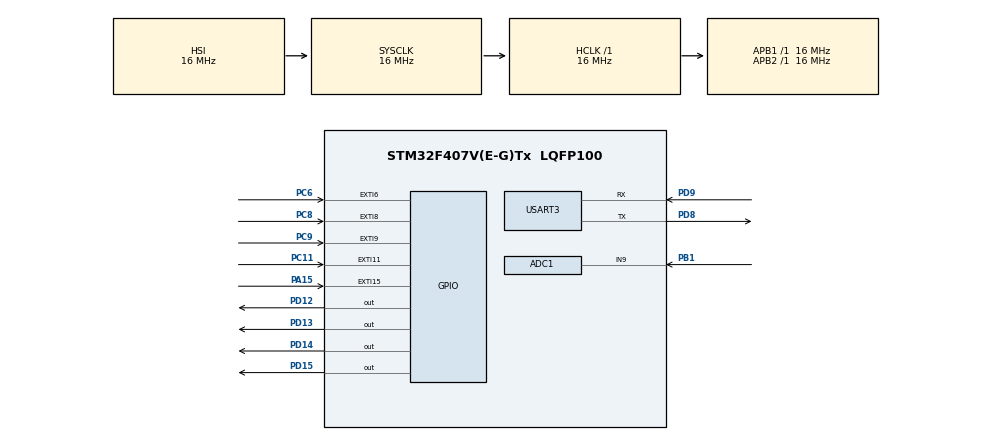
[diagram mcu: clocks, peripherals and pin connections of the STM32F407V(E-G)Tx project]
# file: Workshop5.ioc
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ADC1.Channel-0\#ChannelRegularConversion=ADC_CHANNEL_9
ADC1.ClockPrescaler=ADC_CLOCK_SYNC_PCLK_DIV8
ADC1.ContinuousConvMode=ENABLE
ADC1.NbrOfConversionFlag=1
ADC1.Rank-0\#ChannelRegularConversion=1
ADC1.SamplingTime-0\#ChannelRegularConversion=ADC_SAMPLETIME_480CYCLES
ADC1.master=1
Mcu.Family=STM32F4
Mcu.Name=STM32F407V(E-G)Tx
Mcu.Package=LQFP100
NVIC.EXTI15_10_IRQn=true\:0\:0\:false\:false\:true\:true\:true
NVIC.EXTI9_5_IRQn=true\:0\:0\:false\:false\:true\:true\:true
NVIC.PriorityGroup=NVIC_PRIORITYGROUP_4
NVIC.TIM4_IRQn=true\:0\:0\:false\:false\:true\:true\:true
PA15.Signal=GPXTI15
PB1.Signal=ADCx_IN9
PC11.Signal=GPXTI11
PC6.Signal=GPXTI6
PC8.Signal=GPXTI8
PC9.Signal=GPXTI9
PD12.Signal=GPIO_Output
PD13.Signal=GPIO_Output
PD14.Signal=GPIO_Output
PD15.Signal=GPIO_Output
PD8.Mode=Asynchronous
PD8.Signal=USART3_TX
PD9.Mode=Asynchronous
PD9.Signal=USART3_RX
ProjectManager.HeapSize=0x200
ProjectManager.StackSize=0x400
ProjectManager.TargetToolchain=STM32CubeIDE
RCC.AHBFreq_Value=16000000
RCC.APB1Freq_Value=16000000
RCC.APB2Freq_Value=16000000
RCC.CortexFreq_Value=16000000
RCC.HSE_VALUE=25000000
RCC.HSI_VALUE=16000000
RCC.LSE_VALUE=32768
RCC.SYSCLKFreq_VALUE=16000000
RCC.VCOOutputFreq_Value=192000000
SH.ADCx_IN9.0=ADC1_IN9,IN9
TIM4.Period=999
TIM4.Prescaler=15999
USART3.VirtualMode=VM_ASYNC
VP_TIM4_VS_ClockSourceINT.Mode=Internal
board=custom

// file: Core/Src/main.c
/* USER CODE BEGIN Header */
/**
  ******************************************************************************
  * @file           : main.c
  * @brief          : Main program body
  ******************************************************************************
  * @attention
  *
  * <h2><center>&copy; Copyright (c) 2021 STMicroelectronics.
  * All rights reserved.</center></h2>
  *
  * This software component is licensed by ST under BSD 3-Clause license,
  * the "License"; You may not use this file except in compliance with the
  * License. You may obtain a copy of the License at:
  *                        opensource.org/licenses/BSD-3-Clause
  *
  ******************************************************************************
  */
/* USER CODE END Header */
#include "main.h"

/* USER CODE BEGIN Includes */

#include <string.h>
#include <stdio.h>

/* USER CODE END Includes */

ADC_HandleTypeDef hadc1;

TIM_HandleTypeDef htim4;

UART_HandleTypeDef huart3;

void SystemClock_Config(void);
static void MX_GPIO_Init(void);
static void MX_USART3_UART_Init(void);
static void MX_ADC1_Init(void);
static void MX_TIM4_Init(void);

/* USER CODE BEGIN 0 */

const char * colors[2][4] = {{"GREEN ON\r\n", "ORANGE ON\r\n", "RED ON\r\n", "BLUE ON\r\n"},
		{"GREEN OFF\r\n", "ORANGE OFF\r\n", "RED OFF\r\n", "BLUE OFF\r\n"}};
const uint8_t secondsForTempCheck = 5;
uint8_t secondsPassed = 0;

void togglePinAndSendState(uint16_t OUT_Pin)
{
	int8_t onOff = (HAL_GPIO_ReadPin(GPIOD, OUT_Pin) == GPIO_PIN_SET) ? 1 : 0;

	switch (OUT_Pin)
	{
	case GPIO_PIN_12:
		HAL_UART_Transmit(&huart3, (uint8_t *)colors[onOff][0], strlen(colors[onOff][0]), 10);
		break;

	case GPIO_PIN_13:
		HAL_UART_Transmit(&huart3, (uint8_t *)colors[onOff][1], strlen(colors[onOff][1]), 10);
		break;

	case GPIO_PIN_14:
		HAL_UART_Transmit(&huart3, (uint8_t *)colors[onOff][2], strlen(colors[onOff][2]), 10);
		break;

	case GPIO_PIN_15:
		HAL_UART_Transmit(&huart3, (uint8_t *)colors[onOff][3], strlen(colors[onOff][3]), 10);
		break;

	default:
		HAL_UART_Transmit(&huart3, (uint8_t *)"WRONG OUT PIN\r\n", 15, 10);
		return;
	}

	HAL_GPIO_TogglePin(GPIOD, OUT_Pin);
}

void sendCurrentTemp()
{
	HAL_ADC_Start(&hadc1);
	if (HAL_ADC_PollForConversion(&hadc1, 100) == HAL_OK)
	{
		int16_t value = HAL_ADC_GetValue(&hadc1);

											// slope = (1600(when 45 degrees) - 2050(when 20 degrees))) / (45 - 20) = 18
		value = (value - 2050)/-18 + 20;	// by formula (VSence - V25 (used 20)) / avgSlope + 25 (used 20)

		char message[50];
		sprintf(message, "%d Celsius degrees captured\r\n", value);
		HAL_UART_Transmit(&huart3, (uint8_t *)&message, strlen(message), 10);
	}
	HAL_ADC_Stop(&hadc1);
}

/* USER CODE END 0 */

int main(void)
{

  /* MCU Configuration--------------------------------------------------------*/

  /* Reset of all peripherals, Initializes the Flash interface and the Systick. */
  HAL_Init();

  /* Configure the system clock */
  SystemClock_Config();

  /* Initialize all configured peripherals */
  MX_GPIO_Init();
  MX_USART3_UART_Init();
  MX_ADC1_Init();
  MX_TIM4_Init();
  /* USER CODE BEGIN 2 */

  HAL_TIM_Base_Start_IT(&htim4);

  /* USER CODE END 2 */

  /* Infinite loop */
  /* USER CODE BEGIN WHILE */
  uint8_t rcvBuf[1];
  HAL_StatusTypeDef result;

  while (1)
  {
	  result = HAL_UART_Receive(&huart3, rcvBuf, 1, 10);

	  if (result == HAL_OK)
	  {
		  switch (rcvBuf[0])
		  {
		  case '2':
			  togglePinAndSendState(GPIO_PIN_12);
			  break;

		  case '3':
			  togglePinAndSendState(GPIO_PIN_13);
			  break;

		  case '4':
			  togglePinAndSendState(GPIO_PIN_14);
			  break;

		  case '5':
			  togglePinAndSendState(GPIO_PIN_15);
			  break;

		  default:
			  HAL_UART_Transmit(&huart3, (uint8_t *)"WRONG KEY\r\n", 11, 10);
			  break;
		  }
	  }

    /* USER CODE END WHILE */

  }
}

void SystemClock_Config(void)
{
  RCC_OscInitTypeDef RCC_OscInitStruct = {0};
  RCC_ClkInitTypeDef RCC_ClkInitStruct = {0};

  /** Configure the main internal regulator output voltage
  */
  __HAL_RCC_PWR_CLK_ENABLE();
  __HAL_PWR_VOLTAGESCALING_CONFIG(PWR_REGULATOR_VOLTAGE_SCALE1);
  /** Initializes the RCC Oscillators according to the specified parameters
  * in the RCC_OscInitTypeDef structure.
  */
  RCC_OscInitStruct.OscillatorType = RCC_OSCILLATORTYPE_HSI;
  RCC_OscInitStruct.HSIState = RCC_HSI_ON;
  RCC_OscInitStruct.HSICalibrationValue = RCC_HSICALIBRATION_DEFAULT;
  RCC_OscInitStruct.PLL.PLLState = RCC_PLL_NONE;
  if (HAL_RCC_OscConfig(&RCC_OscInitStruct) != HAL_OK)
  {
    Error_Handler();
  }
  /** Initializes the CPU, AHB and APB buses clocks
  */
  RCC_ClkInitStruct.ClockType = RCC_CLOCKTYPE_HCLK|RCC_CLOCKTYPE_SYSCLK
                              |RCC_CLOCKTYPE_PCLK1|RCC_CLOCKTYPE_PCLK2;
  RCC_ClkInitStruct.SYSCLKSource = RCC_SYSCLKSOURCE_HSI;
  RCC_ClkInitStruct.AHBCLKDivider = RCC_SYSCLK_DIV1;
  RCC_ClkInitStruct.APB1CLKDivider = RCC_HCLK_DIV1;
  RCC_ClkInitStruct.APB2CLKDivider = RCC_HCLK_DIV1;

  if (HAL_RCC_ClockConfig(&RCC_ClkInitStruct, FLASH_LATENCY_0) != HAL_OK)
  {
    Error_Handler();
  }
}

static void MX_ADC1_Init(void)
{

  ADC_ChannelConfTypeDef sConfig = {0};

  /** Configure the global features of the ADC (Clock, Resolution, Data Alignment and number of conversion)
  */
  hadc1.Instance = ADC1;
  hadc1.Init.ClockPrescaler = ADC_CLOCK_SYNC_PCLK_DIV8;
  hadc1.Init.Resolution = ADC_RESOLUTION_12B;
  hadc1.Init.ScanConvMode = DISABLE;
  hadc1.Init.ContinuousConvMode = ENABLE;
  hadc1.Init.DiscontinuousConvMode = DISABLE;
  hadc1.Init.ExternalTrigConvEdge = ADC_EXTERNALTRIGCONVEDGE_NONE;
  hadc1.Init.ExternalTrigConv = ADC_SOFTWARE_START;
  hadc1.Init.DataAlign = ADC_DATAALIGN_RIGHT;
  hadc1.Init.NbrOfConversion = 1;
  hadc1.Init.DMAContinuousRequests = DISABLE;
  hadc1.Init.EOCSelection = ADC_EOC_SINGLE_CONV;
  if (HAL_ADC_Init(&hadc1) != HAL_OK)
  {
    Error_Handler();
  }
  /** Configure for the selected ADC regular channel its corresponding rank in the sequencer and its sample time.
  */
  sConfig.Channel = ADC_CHANNEL_9;
  sConfig.Rank = 1;
  sConfig.SamplingTime = ADC_SAMPLETIME_480CYCLES;
  if (HAL_ADC_ConfigChannel(&hadc1, &sConfig) != HAL_OK)
  {
    Error_Handler();
  }

}

static void MX_TIM4_Init(void)
{

  TIM_ClockConfigTypeDef sClockSourceConfig = {0};
  TIM_MasterConfigTypeDef sMasterConfig = {0};

  htim4.Instance = TIM4;
  htim4.Init.Prescaler = 15999;
  htim4.Init.CounterMode = TIM_COUNTERMODE_UP;
  htim4.Init.Period = 999;
  htim4.Init.ClockDivision = TIM_CLOCKDIVISION_DIV1;
  htim4.Init.AutoReloadPreload = TIM_AUTORELOAD_PRELOAD_DISABLE;
  if (HAL_TIM_Base_Init(&htim4) != HAL_OK)
  {
    Error_Handler();
  }
  sClockSourceConfig.ClockSource = TIM_CLOCKSOURCE_INTERNAL;
  if (HAL_TIM_ConfigClockSource(&htim4, &sClockSourceConfig) != HAL_OK)
  {
    Error_Handler();
  }
  sMasterConfig.MasterOutputTrigger = TIM_TRGO_RESET;
  sMasterConfig.MasterSlaveMode = TIM_MASTERSLAVEMODE_DISABLE;
  if (HAL_TIMEx_MasterConfigSynchronization(&htim4, &sMasterConfig) != HAL_OK)
  {
    Error_Handler();
  }

}

static void MX_USART3_UART_Init(void)
{

  huart3.Instance = USART3;
  huart3.Init.BaudRate = 115200;
  huart3.Init.WordLength = UART_WORDLENGTH_8B;
  huart3.Init.StopBits = UART_STOPBITS_1;
  huart3.Init.Parity = UART_PARITY_NONE;
  huart3.Init.Mode = UART_MODE_TX_RX;
  huart3.Init.HwFlowCtl = UART_HWCONTROL_NONE;
  huart3.Init.OverSampling = UART_OVERSAMPLING_16;
  if (HAL_UART_Init(&huart3) != HAL_OK)
  {
    Error_Handler();
  }

}

static void MX_GPIO_Init(void)
{
  GPIO_InitTypeDef GPIO_InitStruct = {0};

  /* GPIO Ports Clock Enable */
  __HAL_RCC_GPIOB_CLK_ENABLE();
  __HAL_RCC_GPIOD_CLK_ENABLE();
  __HAL_RCC_GPIOC_CLK_ENABLE();
  __HAL_RCC_GPIOA_CLK_ENABLE();

  /*Configure GPIO pin Output Level */
  HAL_GPIO_WritePin(GPIOD, GPIO_PIN_12|GPIO_PIN_13|GPIO_PIN_14|GPIO_PIN_15, GPIO_PIN_RESET);

  /*Configure GPIO pins : PD12 PD13 PD14 PD15 */
  GPIO_InitStruct.Pin = GPIO_PIN_12|GPIO_PIN_13|GPIO_PIN_14|GPIO_PIN_15;
  GPIO_InitStruct.Mode = GPIO_MODE_OUTPUT_PP;
  GPIO_InitStruct.Pull = GPIO_NOPULL;
  GPIO_InitStruct.Speed = GPIO_SPEED_FREQ_LOW;
  HAL_GPIO_Init(GPIOD, &GPIO_InitStruct);

  /*Configure GPIO pins : PC6 PC8 PC9 PC11 */
  GPIO_InitStruct.Pin = GPIO_PIN_6|GPIO_PIN_8|GPIO_PIN_9|GPIO_PIN_11;
  GPIO_InitStruct.Mode = GPIO_MODE_IT_RISING;
  GPIO_InitStruct.Pull = GPIO_NOPULL;
  HAL_GPIO_Init(GPIOC, &GPIO_InitStruct);

  /*Configure GPIO pin : PA15 */
  GPIO_InitStruct.Pin = GPIO_PIN_15;
  GPIO_InitStruct.Mode = GPIO_MODE_IT_RISING;
  GPIO_InitStruct.Pull = GPIO_NOPULL;
  HAL_GPIO_Init(GPIOA, &GPIO_InitStruct);

  /* EXTI interrupt init*/
  HAL_NVIC_SetPriority(EXTI9_5_IRQn, 0, 0);
  HAL_NVIC_EnableIRQ(EXTI9_5_IRQn);

  HAL_NVIC_SetPriority(EXTI15_10_IRQn, 0, 0);
  HAL_NVIC_EnableIRQ(EXTI15_10_IRQn);

}

/* USER CODE BEGIN 4 */

void HAL_GPIO_EXTI_Callback(uint16_t GPIO_PIN)
{
	switch (GPIO_PIN)
	{
	case (GPIO_PIN_8):
		togglePinAndSendState(GPIO_PIN_12);
		break;

	case (GPIO_PIN_9):
		togglePinAndSendState(GPIO_PIN_13);
		break;

	case (GPIO_PIN_6):
		togglePinAndSendState(GPIO_PIN_14);
		break;

	case (GPIO_PIN_11):
		togglePinAndSendState(GPIO_PIN_15);
		break;

	case (GPIO_PIN_15):
		sendCurrentTemp();
		break;

	default:
		HAL_UART_Transmit(&huart3, (uint8_t *)"WRONG BOARD KEY\r\n", 17, 10);
		break;
	}
}

void HAL_TIM_PeriodElapsedCallback(TIM_HandleTypeDef *htim)
{
	if (secondsPassed == secondsForTempCheck)
	{
		sendCurrentTemp();
		secondsPassed = 0;
	}
	secondsPassed++;
}

/* USER CODE END 4 */

void Error_Handler(void)
{
  __disable_irq();
  while (1)
  {
  }
}

/************************ (C) COPYRIGHT STMicroelectronics *****END OF FILE****/
